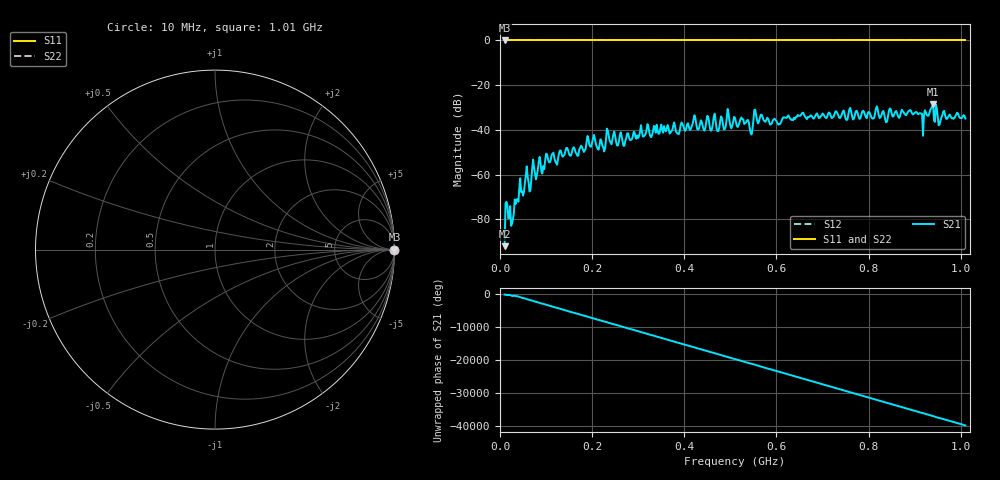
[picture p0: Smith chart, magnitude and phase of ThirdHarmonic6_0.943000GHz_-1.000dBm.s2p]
! 8/16/2025 6:40:31 AM
! C:\ANRITSUVNA\TEMP\TEMP.S2P
! CHANNEL.1
! TR.MEASUREMENT
! RAW.DATA
! RF.CORRECTION.OFF
! AVERAGING.OFF
! IF.BANDWIDTH: 5KHZ
! SWEEPTYPE:  FREQ.SWEEP(Linear)
! Reference Plane Port Info
! PORT:  PORT1  PORT2
! DISTANCE:  0  m  0  m
! TIME:  0  s  0  s
! PHASE.OFFSET:  0  deg.  0  deg.
! LOSS:  0  dB  0  dB
! REF.LOSS:  0  dB  0  dB
! REF.FREQ:  0  Hz  0  Hz
! Power Info
! POWER:  -20  dBm  -20  dBm
! EFF.POWER:  -20  dBm  -20  dBm
! SOURCE.ATTEN:  0  dB  0  dB
! TEST.ATTEN:  0  dB  0  dB
# GHZ S RI R 50.0
! FREQ.GHZ  S11RE  S11IM  S21RE  S21IM  S12RE  S12IM  S22RE  S22IM
!; PortSelection: Port_12
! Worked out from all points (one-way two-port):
!   501 points, 10 MHz to 1.01 GHz, reference 50 ohm
!   highest |S21| = -28.63 dB at 940 MHz (marker M1); lowest = -92.0 dB at 10 MHz (marker M2)
!   lowest |S11| = 0.0 dB at 10 MHz (marker M3)
!   |S11| at or under -10 dB: nowhere
!   |S22| runs from 0.0 to 0.0 dB; largest |S21 - S12| = 1
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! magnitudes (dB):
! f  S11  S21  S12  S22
! 10 MHz  0.0  -92.0  0.0  0.0
! 26 MHz  0.0  -82.0  0.0  0.0
! 58 MHz  0.0  -56.3  0.0  0.0
! 64 MHz  0.0  -67.5  0.0  0.0
! 72 MHz  0.0  -53.3  0.0  0.0
! 94 MHz  0.0  -56.2  0.0  0.0
! 102 MHz  0.0  -50.9  0.0  0.0
! 178 MHz  0.0  -47.7  0.0  0.0
! 204 MHz  0.0  -42.2  0.0  0.0
! 226 MHz  0.0  -49.6  0.0  0.0
! 234 MHz  0.0  -40.3  0.0  0.0
! 270 MHz  0.0  -47.1  0.0  0.0
! 344 MHz  0.0  -41.7  0.0  0.0
! 510 MHz  0.0  -34.6  0.0  0.0
! 544 MHz  0.0  -41.4  0.0  0.0
! 554 MHz  0.0  -31.1  0.0  0.0
! 606 MHz  0.0  -37.4  0.0  0.0
! 678 MHz  0.0  -34.3  0.0  0.0
! 844 MHz  0.0  -31.6  0.0  0.0
! 940 MHz  0.0  -28.6  0.0  0.0
! 954 MHz  0.0  -37.6  0.0  0.0
! 1.01 GHz  0.0  -34.9  0.0  0.0
